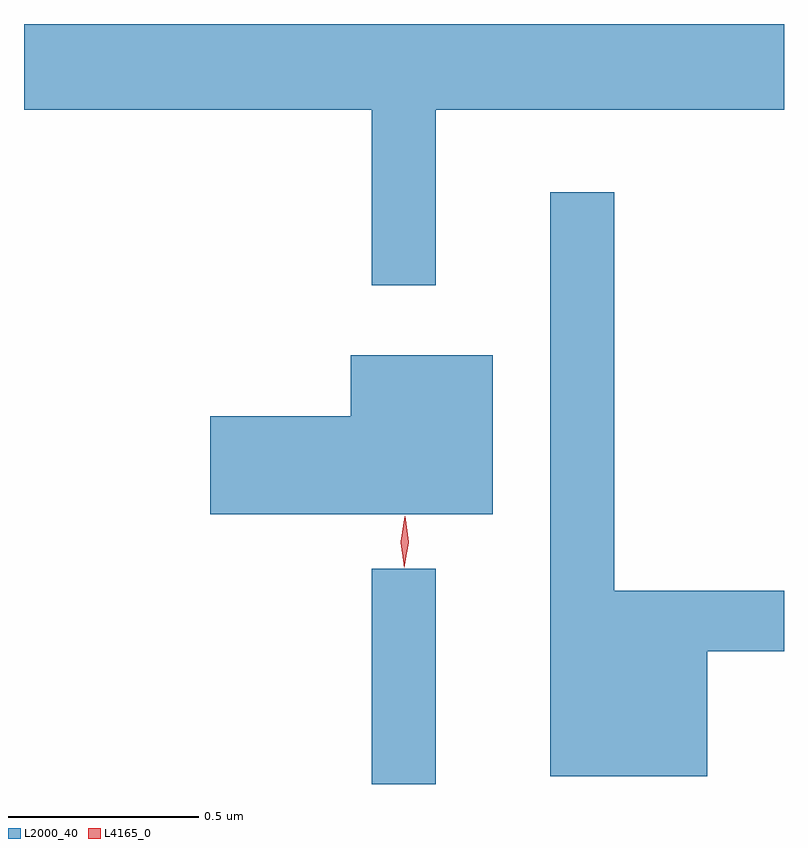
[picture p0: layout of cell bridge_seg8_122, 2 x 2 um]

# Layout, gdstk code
import gdstk
lib = gdstk.Library(unit=1e-6, precision=1e-09)
def R(c, l, rs):  # rectangles x0, y0, x1, y1
    for r in rs: c.add(gdstk.rectangle(r[:2], r[2:], *l))
def P(c, l, *ps):  # polygons
    for p in ps: c.add(gdstk.Polygon(p, *l))
L2000_40 = (2000, 40)
L4165_0 = (4165, 0)

bridge_seg8_122 = lib.new_cell('bridge_seg8_122')
R(bridge_seg8_122, L2000_40, [(1717.181,1870.161,1717.349,1870.728)])
P(bridge_seg8_122, L2000_40, [(1717.349,1871.936),(1718.266,1871.936),(1718.266,1872.161),(1716.266,1872.161),(1716.266,1871.936),(1717.181,1871.936),(1717.181,1871.473),(1717.349,1871.473)],
  [(1718.064,1870.511),(1718.266,1870.511),(1718.266,1870.669),(1717.819,1870.669),(1717.819,1871.718),(1717.651,1871.718),(1717.651,1870.181),(1718.064,1870.181)],
  [(1717.499,1871.289),(1717.126,1871.289),(1717.126,1871.129),(1716.756,1871.129),(1716.756,1870.871),(1717.499,1870.871)])
P(bridge_seg8_122, L4165_0, [(1717.266,1870.73),(1717.258,1870.798),(1717.268,1870.866),(1717.268,1870.866),(1717.269,1870.866),(1717.278,1870.798),(1717.267,1870.73),(1717.267,1870.73)],
  [(1717.266,1870.733),(1717.258,1870.796),(1717.268,1870.859),(1717.269,1870.86),(1717.269,1870.859),(1717.278,1870.796),(1717.267,1870.733),(1717.267,1870.733)])

lib.write_gds('bridge_seg8_122.gds')
